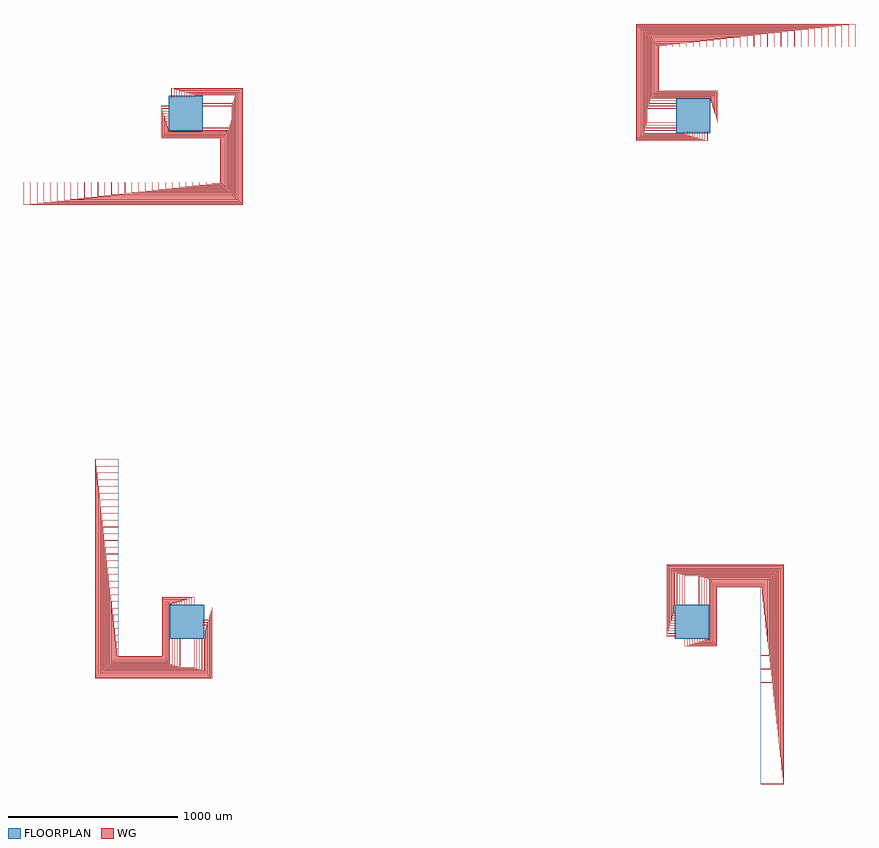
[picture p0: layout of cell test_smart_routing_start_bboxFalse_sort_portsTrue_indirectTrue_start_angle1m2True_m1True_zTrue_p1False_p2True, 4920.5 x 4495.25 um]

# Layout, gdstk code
import gdstk
lib = gdstk.Library(unit=1e-6, precision=1e-09)
def R(c, l, rs):  # rectangles x0, y0, x1, y1
    for r in rs: c.add(gdstk.rectangle(r[:2], r[2:], *l))
def P(c, l, *ps):  # polygons
    for p in ps: c.add(gdstk.Polygon(p, *l))
WG = (1, 0)
FLOORPLAN = (10, 0)

test_smart_routing_start = lib.new_cell('test_smart_routing_start_bboxFalse_sort_portsTrue_indirectTrue_start_angle1m2True_m1True_zTrue_p1False_p2True')
P(test_smart_routing_start, WG, [(3100,2949.75),(3100,2950.25),(3144.5,2950.25),(3144.5,3139.75),(2795.25,3139.75),(2795.25,3404.5),(2800.25,3404.5),(2800.25,3400),(2799.75,3400),(2799.75,3404),(2795.75,3404),(2795.75,3140.25),(3145,3140.25),(3145,2949.75)],
  [(3100,2964.75),(3100,2965.25),(3140,2965.25),(3140,3135.25),(2790.75,3135.25),(2790.75,3409),(2840.25,3409),(2840.25,3400),(2839.75,3400),(2839.75,3408.5),(2791.25,3408.5),(2791.25,3135.75),(3140.5,3135.75),(3140.5,2964.75)],
  [(3100,2979.75),(3100,2980.25),(3135.5,2980.25),(3135.5,3130.75),(2786.25,3130.75),(2786.25,3413.5),(2880.25,3413.5),(2880.25,3400),(2879.75,3400),(2879.75,3413),(2786.75,3413),(2786.75,3131.25),(3136,3131.25),(3136,2979.75)],
  [(3100,2994.75),(3100,2995.25),(3131,2995.25),(3131,3126.25),(2781.75,3126.25),(2781.75,3418),(2920.25,3418),(2920.25,3400),(2919.75,3400),(2919.75,3417.5),(2782.25,3417.5),(2782.25,3126.75),(3131.5,3126.75),(3131.5,2994.75)],
  [(3100,3009.75),(3100,3010.25),(3126.5,3010.25),(3126.5,3121.75),(2777.25,3121.75),(2777.25,3422.5),(2960.25,3422.5),(2960.25,3400),(2959.75,3400),(2959.75,3422),(2777.75,3422),(2777.75,3122.25),(3127,3122.25),(3127,3009.75)],
  [(3100,3024.75),(3100,3025.25),(3122,3025.25),(3122,3117.25),(2772.75,3117.25),(2772.75,3427),(3000.25,3427),(3000.25,3400),(2999.75,3400),(2999.75,3426.5),(2773.25,3426.5),(2773.25,3117.75),(3122.5,3117.75),(3122.5,3024.75)],
  [(3100,3039.75),(3100,3040.25),(3117.5,3040.25),(3117.5,3112.75),(2768.25,3112.75),(2768.25,3431.5),(3040.25,3431.5),(3040.25,3400),(3039.75,3400),(3039.75,3431),(2768.75,3431),(2768.75,3113.25),(3118,3113.25),(3118,3039.75)],
  [(3100,3054.75),(3100,3055.25),(3113,3055.25),(3113,3108.25),(2763.75,3108.25),(2763.75,3436),(3080.25,3436),(3080.25,3400),(3079.75,3400),(3079.75,3435.5),(2764.25,3435.5),(2764.25,3108.75),(3113.5,3108.75),(3113.5,3054.75)],
  [(3100,3069.75),(3100,3070.25),(3108.5,3070.25),(3108.5,3103.75),(2759.25,3103.75),(2759.25,3440.5),(3120.25,3440.5),(3120.25,3400),(3119.75,3400),(3119.75,3440),(2759.75,3440),(2759.75,3104.25),(3109,3104.25),(3109,3069.75)],
  [(3100,3084.75),(3100,3085.25),(3104,3085.25),(3104,3099.25),(2754.75,3099.25),(2754.75,3445),(3160.25,3445),(3160.25,3400),(3159.75,3400),(3159.75,3444.5),(2755.25,3444.5),(2755.25,3099.75),(3104.5,3099.75),(3104.5,3084.75)],
  [(2750.25,3094.75),(2750.25,3449.5),(3200.25,3449.5),(3200.25,3400),(3199.75,3400),(3199.75,3449),(2750.75,3449),(2750.75,3095.25),(2900,3095.25),(2900,3094.75)],
  [(2745.75,3079.75),(2745.75,3454),(3240.25,3454),(3240.25,3400),(3239.75,3400),(3239.75,3453.5),(2746.25,3453.5),(2746.25,3080.25),(2900,3080.25),(2900,3079.75)],
  [(2741.25,3064.75),(2741.25,3458.5),(3280.25,3458.5),(3280.25,3400),(3279.75,3400),(3279.75,3458),(2741.75,3458),(2741.75,3065.25),(2900,3065.25),(2900,3064.75)],
  [(2736.75,3049.75),(2736.75,3463),(3320.25,3463),(3320.25,3400),(3319.75,3400),(3319.75,3462.5),(2737.25,3462.5),(2737.25,3050.25),(2900,3050.25),(2900,3049.75)],
  [(2732.25,3034.75),(2732.25,3467.5),(3360.25,3467.5),(3360.25,3400),(3359.75,3400),(3359.75,3467),(2732.75,3467),(2732.75,3035.25),(2900,3035.25),(2900,3034.75)],
  [(2727.75,2949.75),(2727.75,3472),(3400.25,3472),(3400.25,3400),(3399.75,3400),(3399.75,3471.5),(2728.25,3471.5),(2728.25,2950.25),(2900,2950.25),(2900,2949.75)],
  [(2723.25,2934.75),(2723.25,3476.5),(3440.25,3476.5),(3440.25,3400),(3439.75,3400),(3439.75,3476),(2723.75,3476),(2723.75,2935.25),(2900,2935.25),(2900,2934.75)],
  [(2718.75,2919.75),(2718.75,3481),(3480.25,3481),(3480.25,3400),(3479.75,3400),(3479.75,3480.5),(2719.25,3480.5),(2719.25,2920.25),(2900,2920.25),(2900,2919.75)],
  [(2714.25,2904.75),(2714.25,3485.5),(3520.25,3485.5),(3520.25,3400),(3519.75,3400),(3519.75,3485),(2714.75,3485),(2714.75,2905.25),(2900,2905.25),(2900,2904.75)],
  [(2709.75,2889.75),(2709.75,3490),(3560.25,3490),(3560.25,3400),(3559.75,3400),(3559.75,3489.5),(2710.25,3489.5),(2710.25,2890.25),(2900,2890.25),(2900,2889.75)],
  [(2705.25,2885.25),(2705.25,3494.5),(3600.25,3494.5),(3600.25,3400),(3599.75,3400),(3599.75,3494),(2705.75,3494),(2705.75,2885.75),(2949.75,2885.75),(2949.75,2900),(2950.25,2900),(2950.25,2885.25)],
  [(2700.75,2880.75),(2700.75,3499),(3640.25,3499),(3640.25,3400),(3639.75,3400),(3639.75,3498.5),(2701.25,3498.5),(2701.25,2881.25),(2964.75,2881.25),(2964.75,2900),(2965.25,2900),(2965.25,2880.75)],
  [(2696.25,2876.25),(2696.25,3503.5),(3680.25,3503.5),(3680.25,3400),(3679.75,3400),(3679.75,3503),(2696.75,3503),(2696.75,2876.75),(2979.75,2876.75),(2979.75,2900),(2980.25,2900),(2980.25,2876.25)],
  [(2691.75,2871.75),(2691.75,3508),(3720.25,3508),(3720.25,3400),(3719.75,3400),(3719.75,3507.5),(2692.25,3507.5),(2692.25,2872.25),(2994.75,2872.25),(2994.75,2900),(2995.25,2900),(2995.25,2871.75)],
  [(2687.25,2867.25),(2687.25,3512.5),(3760.25,3512.5),(3760.25,3400),(3759.75,3400),(3759.75,3512),(2687.75,3512),(2687.75,2867.75),(3009.75,2867.75),(3009.75,2900),(3010.25,2900),(3010.25,2867.25)],
  [(2682.75,2862.75),(2682.75,3517),(3800.25,3517),(3800.25,3400),(3799.75,3400),(3799.75,3516.5),(2683.25,3516.5),(2683.25,2863.25),(3024.75,2863.25),(3024.75,2900),(3025.25,2900),(3025.25,2862.75)],
  [(2678.25,2858.25),(2678.25,3521.5),(3840.25,3521.5),(3840.25,3400),(3839.75,3400),(3839.75,3521),(2678.75,3521),(2678.75,2858.75),(3039.75,2858.75),(3039.75,2900),(3040.25,2900),(3040.25,2858.25)],
  [(2673.75,2853.75),(2673.75,3526),(3880.25,3526),(3880.25,3400),(3879.75,3400),(3879.75,3525.5),(2674.25,3525.5),(2674.25,2854.25),(3054.75,2854.25),(3054.75,2900),(3055.25,2900),(3055.25,2853.75)],
  [(2669.25,2849.25),(2669.25,3530.5),(3920.25,3530.5),(3920.25,3400),(3919.75,3400),(3919.75,3530),(2669.75,3530),(2669.75,2849.75),(3069.75,2849.75),(3069.75,2900),(3070.25,2900),(3070.25,2849.25)],
  [(2664.75,2844.75),(2664.75,3535),(3960.25,3535),(3960.25,3400),(3959.75,3400),(3959.75,3534.5),(2665.25,3534.5),(2665.25,2845.25),(3084.75,2845.25),(3084.75,2900),(3085.25,2900),(3085.25,2844.75)],
  [(199.75,2595.5),(199.75,2600),(200.25,2600),(200.25,2596),(204.25,2596),(204.25,2859.75),(-145,2859.75),(-145,3050.25),(-100,3050.25),(-100,3049.75),(-144.5,3049.75),(-144.5,2860.25),(204.75,2860.25),(204.75,2595.5)],
  [(159.75,2591),(159.75,2600),(160.25,2600),(160.25,2591.5),(208.75,2591.5),(208.75,2864.25),(-140.5,2864.25),(-140.5,3035.25),(-100,3035.25),(-100,3034.75),(-140,3034.75),(-140,2864.75),(209.25,2864.75),(209.25,2591)],
  [(119.75,2586.5),(119.75,2600),(120.25,2600),(120.25,2587),(213.25,2587),(213.25,2868.75),(-136,2868.75),(-136,3020.25),(-100,3020.25),(-100,3019.75),(-135.5,3019.75),(-135.5,2869.25),(213.75,2869.25),(213.75,2586.5)],
  [(79.75,2582),(79.75,2600),(80.25,2600),(80.25,2582.5),(217.75,2582.5),(217.75,2873.25),(-131.5,2873.25),(-131.5,3005.25),(-100,3005.25),(-100,3004.75),(-131,3004.75),(-131,2873.75),(218.25,2873.75),(218.25,2582)],
  [(39.75,2577.5),(39.75,2600),(40.25,2600),(40.25,2578),(222.25,2578),(222.25,2877.75),(-127,2877.75),(-127,2990.25),(-100,2990.25),(-100,2989.75),(-126.5,2989.75),(-126.5,2878.25),(222.75,2878.25),(222.75,2577.5)],
  [(-0.25,2573),(-0.25,2600),(0.25,2600),(0.25,2573.5),(226.75,2573.5),(226.75,2882.25),(-122.5,2882.25),(-122.5,2975.25),(-100,2975.25),(-100,2974.75),(-122,2974.75),(-122,2882.75),(227.25,2882.75),(227.25,2573)],
  [(-40.25,2568.5),(-40.25,2600),(-39.75,2600),(-39.75,2569),(231.25,2569),(231.25,2886.75),(-118,2886.75),(-118,2960.25),(-100,2960.25),(-100,2959.75),(-117.5,2959.75),(-117.5,2887.25),(231.75,2887.25),(231.75,2568.5)],
  [(-80.25,2564),(-80.25,2600),(-79.75,2600),(-79.75,2564.5),(235.75,2564.5),(235.75,2891.25),(-113.5,2891.25),(-113.5,2945.25),(-100,2945.25),(-100,2944.75),(-113,2944.75),(-113,2891.75),(236.25,2891.75),(236.25,2564)],
  [(-120.25,2559.5),(-120.25,2600),(-119.75,2600),(-119.75,2560),(240.25,2560),(240.25,2895.75),(-109,2895.75),(-109,2930.25),(-100,2930.25),(-100,2929.75),(-108.5,2929.75),(-108.5,2896.25),(240.75,2896.25),(240.75,2559.5)],
  [(-160.25,2555),(-160.25,2600),(-159.75,2600),(-159.75,2555.5),(244.75,2555.5),(244.75,2900.25),(-104.5,2900.25),(-104.5,2915.25),(-100,2915.25),(-100,2914.75),(-104,2914.75),(-104,2900.75),(245.25,2900.75),(245.25,2555)],
  [(-200.25,2550.5),(-200.25,2600),(-199.75,2600),(-199.75,2551),(249.25,2551),(249.25,2904.75),(100,2904.75),(100,2905.25),(249.75,2905.25),(249.75,2550.5)],
  [(-240.25,2546),(-240.25,2600),(-239.75,2600),(-239.75,2546.5),(253.75,2546.5),(253.75,2919.75),(100,2919.75),(100,2920.25),(254.25,2920.25),(254.25,2546)],
  [(-280.25,2541.5),(-280.25,2600),(-279.75,2600),(-279.75,2542),(258.25,2542),(258.25,2934.75),(100,2934.75),(100,2935.25),(258.75,2935.25),(258.75,2541.5)],
  [(-320.25,2537),(-320.25,2600),(-319.75,2600),(-319.75,2537.5),(262.75,2537.5),(262.75,2949.75),(100,2949.75),(100,2950.25),(263.25,2950.25),(263.25,2537)],
  [(-360.25,2532.5),(-360.25,2600),(-359.75,2600),(-359.75,2533),(267.25,2533),(267.25,2964.75),(100,2964.75),(100,2965.25),(267.75,2965.25),(267.75,2532.5)],
  [(-400.25,2528),(-400.25,2600),(-399.75,2600),(-399.75,2528.5),(271.75,2528.5),(271.75,3049.75),(100,3049.75),(100,3050.25),(272.25,3050.25),(272.25,2528)],
  [(-440.25,2523.5),(-440.25,2600),(-439.75,2600),(-439.75,2524),(276.25,2524),(276.25,3064.75),(100,3064.75),(100,3065.25),(276.75,3065.25),(276.75,2523.5)],
  [(-480.25,2519),(-480.25,2600),(-479.75,2600),(-479.75,2519.5),(280.75,2519.5),(280.75,3079.75),(100,3079.75),(100,3080.25),(281.25,3080.25),(281.25,2519)],
  [(-520.25,2514.5),(-520.25,2600),(-519.75,2600),(-519.75,2515),(285.25,2515),(285.25,3094.75),(100,3094.75),(100,3095.25),(285.75,3095.25),(285.75,2514.5)],
  [(-560.25,2510),(-560.25,2600),(-559.75,2600),(-559.75,2510.5),(289.75,2510.5),(289.75,3109.75),(100,3109.75),(100,3110.25),(290.25,3110.25),(290.25,2510)],
  [(-600.25,2505.5),(-600.25,2600),(-599.75,2600),(-599.75,2506),(294.25,2506),(294.25,3114.25),(50.25,3114.25),(50.25,3100),(49.75,3100),(49.75,3114.75),(294.75,3114.75),(294.75,2505.5)],
  [(-640.25,2501),(-640.25,2600),(-639.75,2600),(-639.75,2501.5),(298.75,2501.5),(298.75,3118.75),(35.25,3118.75),(35.25,3100),(34.75,3100),(34.75,3119.25),(299.25,3119.25),(299.25,2501)],
  [(-680.25,2496.5),(-680.25,2600),(-679.75,2600),(-679.75,2497),(303.25,2497),(303.25,3123.25),(20.25,3123.25),(20.25,3100),(19.75,3100),(19.75,3123.75),(303.75,3123.75),(303.75,2496.5)],
  [(-720.25,2492),(-720.25,2600),(-719.75,2600),(-719.75,2492.5),(307.75,2492.5),(307.75,3127.75),(5.25,3127.75),(5.25,3100),(4.75,3100),(4.75,3128.25),(308.25,3128.25),(308.25,2492)],
  [(-760.25,2487.5),(-760.25,2600),(-759.75,2600),(-759.75,2488),(312.25,2488),(312.25,3132.25),(-9.75,3132.25),(-9.75,3100),(-10.25,3100),(-10.25,3132.75),(312.75,3132.75),(312.75,2487.5)],
  [(-800.25,2483),(-800.25,2600),(-799.75,2600),(-799.75,2483.5),(316.75,2483.5),(316.75,3136.75),(-24.75,3136.75),(-24.75,3100),(-25.25,3100),(-25.25,3137.25),(317.25,3137.25),(317.25,2483)],
  [(-840.25,2478.5),(-840.25,2600),(-839.75,2600),(-839.75,2479),(321.25,2479),(321.25,3141.25),(-39.75,3141.25),(-39.75,3100),(-40.25,3100),(-40.25,3141.75),(321.75,3141.75),(321.75,2478.5)],
  [(-880.25,2474),(-880.25,2600),(-879.75,2600),(-879.75,2474.5),(325.75,2474.5),(325.75,3145.75),(-54.75,3145.75),(-54.75,3100),(-55.25,3100),(-55.25,3146.25),(326.25,3146.25),(326.25,2474)],
  [(-920.25,2469.5),(-920.25,2600),(-919.75,2600),(-919.75,2470),(330.25,2470),(330.25,3150.25),(-69.75,3150.25),(-69.75,3100),(-70.25,3100),(-70.25,3150.75),(330.75,3150.75),(330.75,2469.5)],
  [(-960.25,2465),(-960.25,2600),(-959.75,2600),(-959.75,2465.5),(334.75,2465.5),(334.75,3154.75),(-84.75,3154.75),(-84.75,3100),(-85.25,3100),(-85.25,3155.25),(335.25,3155.25),(335.25,2465)],
  [(-404.5,-204.75),(-404.5,-199.75),(-400,-199.75),(-400,-200.25),(-404,-200.25),(-404,-204.25),(-140.25,-204.25),(-140.25,145),(50.25,145),(50.25,100),(49.75,100),(49.75,144.5),(-139.75,144.5),(-139.75,-204.75)],
  [(-409,-209.25),(-409,-159.75),(-400,-159.75),(-400,-160.25),(-408.5,-160.25),(-408.5,-208.75),(-135.75,-208.75),(-135.75,140.5),(35.25,140.5),(35.25,100),(34.75,100),(34.75,140),(-135.25,140),(-135.25,-209.25)],
  [(-413.5,-213.75),(-413.5,-119.75),(-400,-119.75),(-400,-120.25),(-413,-120.25),(-413,-213.25),(-131.25,-213.25),(-131.25,136),(20.25,136),(20.25,100),(19.75,100),(19.75,135.5),(-130.75,135.5),(-130.75,-213.75)],
  [(-418,-218.25),(-418,-79.75),(-400,-79.75),(-400,-80.25),(-417.5,-80.25),(-417.5,-217.75),(-126.75,-217.75),(-126.75,131.5),(5.25,131.5),(5.25,100),(4.75,100),(4.75,131),(-126.25,131),(-126.25,-218.25)],
  [(-422.5,-222.75),(-422.5,-39.75),(-400,-39.75),(-400,-40.25),(-422,-40.25),(-422,-222.25),(-122.25,-222.25),(-122.25,127),(-9.75,127),(-9.75,100),(-10.25,100),(-10.25,126.5),(-121.75,126.5),(-121.75,-222.75)],
  [(-427,-227.25),(-427,0.25),(-400,0.25),(-400,-0.25),(-426.5,-0.25),(-426.5,-226.75),(-117.75,-226.75),(-117.75,122.5),(-24.75,122.5),(-24.75,100),(-25.25,100),(-25.25,122),(-117.25,122),(-117.25,-227.25)],
  [(-431.5,-231.75),(-431.5,40.25),(-400,40.25),(-400,39.75),(-431,39.75),(-431,-231.25),(-113.25,-231.25),(-113.25,118),(-39.75,118),(-39.75,100),(-40.25,100),(-40.25,117.5),(-112.75,117.5),(-112.75,-231.75)],
  [(-436,-236.25),(-436,80.25),(-400,80.25),(-400,79.75),(-435.5,79.75),(-435.5,-235.75),(-108.75,-235.75),(-108.75,113.5),(-54.75,113.5),(-54.75,100),(-55.25,100),(-55.25,113),(-108.25,113),(-108.25,-236.25)],
  [(-440.5,-240.75),(-440.5,120.25),(-400,120.25),(-400,119.75),(-440,119.75),(-440,-240.25),(-104.25,-240.25),(-104.25,109),(-69.75,109),(-69.75,100),(-70.25,100),(-70.25,108.5),(-103.75,108.5),(-103.75,-240.75)],
  [(-445,-245.25),(-445,160.25),(-400,160.25),(-400,159.75),(-444.5,159.75),(-444.5,-244.75),(-99.75,-244.75),(-99.75,104.5),(-84.75,104.5),(-84.75,100),(-85.25,100),(-85.25,104),(-99.25,104),(-99.25,-245.25)],
  [(-449.5,-249.75),(-449.5,200.25),(-400,200.25),(-400,199.75),(-449,199.75),(-449,-249.25),(-95.25,-249.25),(-95.25,-100),(-94.75,-100),(-94.75,-249.75)],
  [(-454,-254.25),(-454,240.25),(-400,240.25),(-400,239.75),(-453.5,239.75),(-453.5,-253.75),(-80.25,-253.75),(-80.25,-100),(-79.75,-100),(-79.75,-254.25)],
  [(-458.5,-258.75),(-458.5,280.25),(-400,280.25),(-400,279.75),(-458,279.75),(-458,-258.25),(-65.25,-258.25),(-65.25,-100),(-64.75,-100),(-64.75,-258.75)],
  [(-463,-263.25),(-463,320.25),(-400,320.25),(-400,319.75),(-462.5,319.75),(-462.5,-262.75),(-50.25,-262.75),(-50.25,-100),(-49.75,-100),(-49.75,-263.25)],
  [(-467.5,-267.75),(-467.5,360.25),(-400,360.25),(-400,359.75),(-467,359.75),(-467,-267.25),(-35.25,-267.25),(-35.25,-100),(-34.75,-100),(-34.75,-267.75)],
  [(-472,-272.25),(-472,400.25),(-400,400.25),(-400,399.75),(-471.5,399.75),(-471.5,-271.75),(49.75,-271.75),(49.75,-100),(50.25,-100),(50.25,-272.25)],
  [(-476.5,-276.75),(-476.5,440.25),(-400,440.25),(-400,439.75),(-476,439.75),(-476,-276.25),(64.75,-276.25),(64.75,-100),(65.25,-100),(65.25,-276.75)],
  [(-481,-281.25),(-481,480.25),(-400,480.25),(-400,479.75),(-480.5,479.75),(-480.5,-280.75),(79.75,-280.75),(79.75,-100),(80.25,-100),(80.25,-281.25)],
  [(-485.5,-285.75),(-485.5,520.25),(-400,520.25),(-400,519.75),(-485,519.75),(-485,-285.25),(94.75,-285.25),(94.75,-100),(95.25,-100),(95.25,-285.75)],
  [(-490,-290.25),(-490,560.25),(-400,560.25),(-400,559.75),(-489.5,559.75),(-489.5,-289.75),(109.75,-289.75),(109.75,-100),(110.25,-100),(110.25,-290.25)],
  [(-494.5,-294.75),(-494.5,600.25),(-400,600.25),(-400,599.75),(-494,599.75),(-494,-294.25),(114.25,-294.25),(114.25,-50.25),(100,-50.25),(100,-49.75),(114.75,-49.75),(114.75,-294.75)],
  [(-499,-299.25),(-499,640.25),(-400,640.25),(-400,639.75),(-498.5,639.75),(-498.5,-298.75),(118.75,-298.75),(118.75,-35.25),(100,-35.25),(100,-34.75),(119.25,-34.75),(119.25,-299.25)],
  [(-503.5,-303.75),(-503.5,680.25),(-400,680.25),(-400,679.75),(-503,679.75),(-503,-303.25),(123.25,-303.25),(123.25,-20.25),(100,-20.25),(100,-19.75),(123.75,-19.75),(123.75,-303.75)],
  [(-508,-308.25),(-508,720.25),(-400,720.25),(-400,719.75),(-507.5,719.75),(-507.5,-307.75),(127.75,-307.75),(127.75,-5.25),(100,-5.25),(100,-4.75),(128.25,-4.75),(128.25,-308.25)],
  [(-512.5,-312.75),(-512.5,760.25),(-400,760.25),(-400,759.75),(-512,759.75),(-512,-312.25),(132.25,-312.25),(132.25,9.75),(100,9.75),(100,10.25),(132.75,10.25),(132.75,-312.75)],
  [(-517,-317.25),(-517,800.25),(-400,800.25),(-400,799.75),(-516.5,799.75),(-516.5,-316.75),(136.75,-316.75),(136.75,24.75),(100,24.75),(100,25.25),(137.25,25.25),(137.25,-317.25)],
  [(-521.5,-321.75),(-521.5,840.25),(-400,840.25),(-400,839.75),(-521,839.75),(-521,-321.25),(141.25,-321.25),(141.25,39.75),(100,39.75),(100,40.25),(141.75,40.25),(141.75,-321.75)],
  [(-526,-326.25),(-526,880.25),(-400,880.25),(-400,879.75),(-525.5,879.75),(-525.5,-325.75),(145.75,-325.75),(145.75,54.75),(100,54.75),(100,55.25),(146.25,55.25),(146.25,-326.25)],
  [(-530.5,-330.75),(-530.5,920.25),(-400,920.25),(-400,919.75),(-530,919.75),(-530,-330.25),(150.25,-330.25),(150.25,69.75),(100,69.75),(100,70.25),(150.75,70.25),(150.75,-330.75)],
  [(-535,-335.25),(-535,960.25),(-400,960.25),(-400,959.75),(-534.5,959.75),(-534.5,-334.75),(154.75,-334.75),(154.75,84.75),(100,84.75),(100,85.25),(155.25,85.25),(155.25,-335.25)],
  [(2949.75,-145),(2949.75,-100),(2950.25,-100),(2950.25,-144.5),(3139.75,-144.5),(3139.75,204.75),(3404.5,204.75),(3404.5,199.75),(3400,199.75),(3400,200.25),(3404,200.25),(3404,204.25),(3140.25,204.25),(3140.25,-145)],
  [(2964.75,-140.5),(2964.75,-100),(2965.25,-100),(2965.25,-140),(3135.25,-140),(3135.25,209.25),(3409,209.25),(3409,159.75),(3400,159.75),(3400,160.25),(3408.5,160.25),(3408.5,208.75),(3135.75,208.75),(3135.75,-140.5)],
  [(2979.75,-136),(2979.75,-100),(2980.25,-100),(2980.25,-135.5),(3130.75,-135.5),(3130.75,213.75),(3413.5,213.75),(3413.5,119.75),(3400,119.75),(3400,120.25),(3413,120.25),(3413,213.25),(3131.25,213.25),(3131.25,-136)],
  [(2994.75,-131.5),(2994.75,-100),(2995.25,-100),(2995.25,-131),(3126.25,-131),(3126.25,218.25),(3418,218.25),(3418,79.75),(3400,79.75),(3400,80.25),(3417.5,80.25),(3417.5,217.75),(3126.75,217.75),(3126.75,-131.5)],
  [(3009.75,-127),(3009.75,-100),(3010.25,-100),(3010.25,-126.5),(3121.75,-126.5),(3121.75,222.75),(3422.5,222.75),(3422.5,39.75),(3400,39.75),(3400,40.25),(3422,40.25),(3422,222.25),(3122.25,222.25),(3122.25,-127)],
  [(3024.75,-122.5),(3024.75,-100),(3025.25,-100),(3025.25,-122),(3117.25,-122),(3117.25,227.25),(3427,227.25),(3427,-0.25),(3400,-0.25),(3400,0.25),(3426.5,0.25),(3426.5,226.75),(3117.75,226.75),(3117.75,-122.5)],
  [(3039.75,-118),(3039.75,-100),(3040.25,-100),(3040.25,-117.5),(3112.75,-117.5),(3112.75,231.75),(3431.5,231.75),(3431.5,-40.25),(3400,-40.25),(3400,-39.75),(3431,-39.75),(3431,231.25),(3113.25,231.25),(3113.25,-118)],
  [(3054.75,-113.5),(3054.75,-100),(3055.25,-100),(3055.25,-113),(3108.25,-113),(3108.25,236.25),(3436,236.25),(3436,-80.25),(3400,-80.25),(3400,-79.75),(3435.5,-79.75),(3435.5,235.75),(3108.75,235.75),(3108.75,-113.5)],
  [(3400,-120.25),(3400,-119.75),(3440,-119.75),(3440,240.25),(3104.25,240.25),(3104.25,-109),(3069.75,-109),(3069.75,-100),(3070.25,-100),(3070.25,-108.5),(3103.75,-108.5),(3103.75,240.75),(3440.5,240.75),(3440.5,-120.25)],
  [(3400,-160.25),(3400,-159.75),(3444.5,-159.75),(3444.5,244.75),(3099.75,244.75),(3099.75,-104.5),(3084.75,-104.5),(3084.75,-100),(3085.25,-100),(3085.25,-104),(3099.25,-104),(3099.25,245.25),(3445,245.25),(3445,-160.25)],
  [(3400,-200.25),(3400,-199.75),(3449,-199.75),(3449,249.25),(3095.25,249.25),(3095.25,100),(3094.75,100),(3094.75,249.75),(3449.5,249.75),(3449.5,-200.25)],
  [(3400,-240.25),(3400,-239.75),(3453.5,-239.75),(3453.5,253.75),(3080.25,253.75),(3080.25,100),(3079.75,100),(3079.75,254.25),(3454,254.25),(3454,-240.25)],
  [(3400,-280.25),(3400,-279.75),(3458,-279.75),(3458,258.25),(3065.25,258.25),(3065.25,100),(3064.75,100),(3064.75,258.75),(3458.5,258.75),(3458.5,-280.25)],
  [(3400,-320.25),(3400,-319.75),(3462.5,-319.75),(3462.5,262.75),(3050.25,262.75),(3050.25,100),(3049.75,100),(3049.75,263.25),(3463,263.25),(3463,-320.25)],
  [(3400,-360.25),(3400,-359.75),(3467,-359.75),(3467,267.25),(3035.25,267.25),(3035.25,100),(3034.75,100),(3034.75,267.75),(3467.5,267.75),(3467.5,-360.25)],
  [(3400,-400.25),(3400,-399.75),(3471.5,-399.75),(3471.5,271.75),(2950.25,271.75),(2950.25,100),(2949.75,100),(2949.75,272.25),(3472,272.25),(3472,-400.25)],
  [(3400,-440.25),(3400,-439.75),(3476,-439.75),(3476,276.25),(2935.25,276.25),(2935.25,100),(2934.75,100),(2934.75,276.75),(3476.5,276.75),(3476.5,-440.25)],
  [(3400,-480.25),(3400,-479.75),(3480.5,-479.75),(3480.5,280.75),(2920.25,280.75),(2920.25,100),(2919.75,100),(2919.75,281.25),(3481,281.25),(3481,-480.25)],
  [(3400,-520.25),(3400,-519.75),(3485,-519.75),(3485,285.25),(2905.25,285.25),(2905.25,100),(2904.75,100),(2904.75,285.75),(3485.5,285.75),(3485.5,-520.25)],
  [(3400,-560.25),(3400,-559.75),(3489.5,-559.75),(3489.5,289.75),(2890.25,289.75),(2890.25,100),(2889.75,100),(2889.75,290.25),(3490,290.25),(3490,-560.25)],
  [(3400,-600.25),(3400,-599.75),(3494,-599.75),(3494,294.25),(2885.75,294.25),(2885.75,50.25),(2900,50.25),(2900,49.75),(2885.25,49.75),(2885.25,294.75),(3494.5,294.75),(3494.5,-600.25)],
  [(3400,-640.25),(3400,-639.75),(3498.5,-639.75),(3498.5,298.75),(2881.25,298.75),(2881.25,35.25),(2900,35.25),(2900,34.75),(2880.75,34.75),(2880.75,299.25),(3499,299.25),(3499,-640.25)],
  [(3400,-680.25),(3400,-679.75),(3503,-679.75),(3503,303.25),(2876.75,303.25),(2876.75,20.25),(2900,20.25),(2900,19.75),(2876.25,19.75),(2876.25,303.75),(3503.5,303.75),(3503.5,-680.25)],
  [(3400,-720.25),(3400,-719.75),(3507.5,-719.75),(3507.5,307.75),(2872.25,307.75),(2872.25,5.25),(2900,5.25),(2900,4.75),(2871.75,4.75),(2871.75,308.25),(3508,308.25),(3508,-720.25)],
  [(3400,-760.25),(3400,-759.75),(3512,-759.75),(3512,312.25),(2867.75,312.25),(2867.75,-9.75),(2900,-9.75),(2900,-10.25),(2867.25,-10.25),(2867.25,312.75),(3512.5,312.75),(3512.5,-760.25)],
  [(3400,-800.25),(3400,-799.75),(3516.5,-799.75),(3516.5,316.75),(2863.25,316.75),(2863.25,-24.75),(2900,-24.75),(2900,-25.25),(2862.75,-25.25),(2862.75,317.25),(3517,317.25),(3517,-800.25)],
  [(3400,-840.25),(3400,-839.75),(3521,-839.75),(3521,321.25),(2858.75,321.25),(2858.75,-39.75),(2900,-39.75),(2900,-40.25),(2858.25,-40.25),(2858.25,321.75),(3521.5,321.75),(3521.5,-840.25)],
  [(3400,-880.25),(3400,-879.75),(3525.5,-879.75),(3525.5,325.75),(2854.25,325.75),(2854.25,-54.75),(2900,-54.75),(2900,-55.25),(2853.75,-55.25),(2853.75,326.25),(3526,326.25),(3526,-880.25)],
  [(3400,-920.25),(3400,-919.75),(3530,-919.75),(3530,330.25),(2849.75,330.25),(2849.75,-69.75),(2900,-69.75),(2900,-70.25),(2849.25,-70.25),(2849.25,330.75),(3530.5,330.75),(3530.5,-920.25)],
  [(3400,-960.25),(3400,-959.75),(3534.5,-959.75),(3534.5,334.75),(2845.25,334.75),(2845.25,-84.75),(2900,-84.75),(2900,-85.25),(2844.75,-85.25),(2844.75,335.25),(3535,335.25),(3535,-960.25)])
R(test_smart_routing_start, FLOORPLAN, [(-95,-100,110,100), (2890,-100,3095,100), (2900,2890,3100,3095), (-100,2905,100,3110)])
P(test_smart_routing_start, FLOORPLAN, [(-400,-200),(-400,960),(-400,960),(-400,-200)],
  [(-960,2600),(-960,2600),(200,2600),(200,2600)],
  [(3400,-960),(3400,200),(3400,200),(3400,-960)],
  [(2800,3400),(2800,3400),(3960,3400),(3960,3400)])

lib.write_gds('test_smart_routing_start_bboxFalse_sort_portsTrue_indirectTrue_start_angle1m2True_m1True_zTrue_p1False_p2True.gds')
